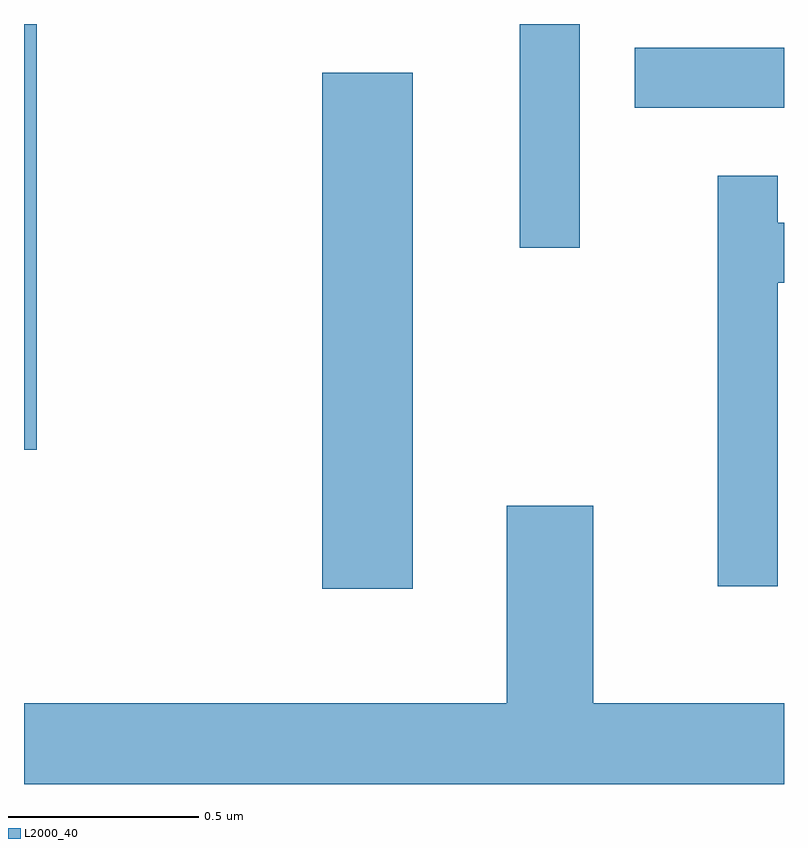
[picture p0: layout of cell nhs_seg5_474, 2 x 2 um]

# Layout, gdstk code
import gdstk
lib = gdstk.Library(unit=1e-6, precision=1e-09)
def R(c, l, rs):  # rectangles x0, y0, x1, y1
    for r in rs: c.add(gdstk.rectangle(r[:2], r[2:], *l))
def P(c, l, *ps):  # polygons
    for p in ps: c.add(gdstk.Polygon(p, *l))
L2000_40 = (2000, 40)

nhs_seg5_474 = lib.new_cell('nhs_seg5_474')
R(nhs_seg5_474, L2000_40, [(189.396,1459.586,189.634,1460.944), (188.611,1459.951,188.644,1461.072), (189.916,1460.483,190.074,1461.072), (190.218,1460.851,190.611,1461.009)])
P(nhs_seg5_474, L2000_40, [(190.594,1460.391),(190.611,1460.391),(190.611,1460.549),(190.594,1460.549),(190.594,1460.673),(190.436,1460.673),(190.436,1459.593),(190.594,1459.593)],
  [(190.611,1459.284),(190.109,1459.284),(190.109,1459.804),(189.881,1459.804),(189.881,1459.284),(188.611,1459.284),(188.611,1459.072),(190.611,1459.072)])

lib.write_gds('nhs_seg5_474.gds')
